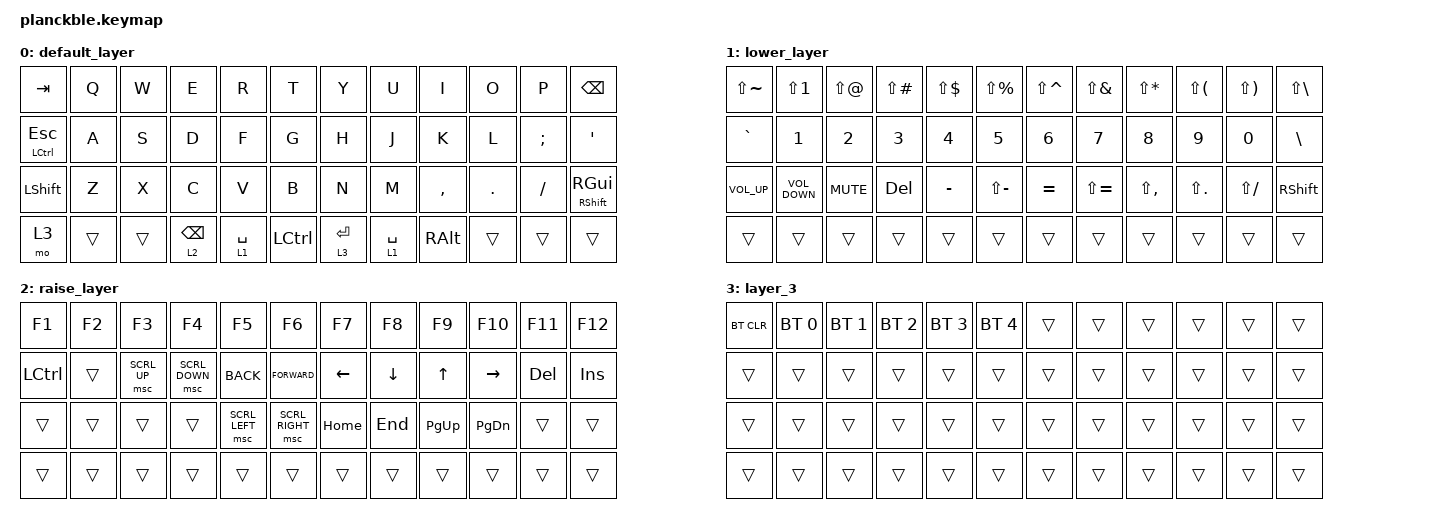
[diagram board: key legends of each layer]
/*
 * Copyright (c) 2021 The ZMK Contributors
 *
 * SPDX-License-Identifier: MIT
 */

#include <behaviors.dtsi>
#include <dt-bindings/zmk/bt.h>
#include <dt-bindings/zmk/keys.h>
#include <dt-bindings/zmk/pointing.h>

&lt {
    flavor = "balanced";
    tapping-term-ms = <100>;
};

/ {
    combos {
        compatible = "zmk,combos";

        combo_+ {
            bindings = <&kp PLUS>;
            key-positions = <17 18>;
            timeout-ms = <50>;
            layers = <0>;
        };

        combo_lshft {
            bindings = <&kp LSHFT>;
            key-positions = <14 15>;
        };

        combo_rshft {
            bindings = <&kp RSHFT>;
            key-positions = <20 21>;
        };

        combo_caps {
            bindings = <&kp CAPSLOCK>;
            key-positions = <13 14 15 16>;
        };

        combo_enter {
            bindings = <&kp ENTER>;
            key-positions = <16 19>;
        };

        combo_left_brace {
            bindings = <&kp LEFT_BRACE>;
            key-positions = <3 4>;
        };

        combo_left_parenthesis {
            bindings = <&kp LEFT_PARENTHESIS>;
            key-positions = <15 16>;
        };

        combo_left_bracket {
            bindings = <&kp LEFT_BRACKET>;
            key-positions = <27 28>;
        };

        combo_right_brace {
            bindings = <&kp RIGHT_BRACE>;
            key-positions = <7 8>;
        };

        combo_right_parenthesis {
            bindings = <&kp RIGHT_PARENTHESIS>;
            key-positions = <19 20>;
        };

        combo_right_bracket {
            bindings = <&kp RIGHT_BRACKET>;
            key-positions = <31 32>;
        };

        combo_plus {
            bindings = <&kp LS(EQUAL)>;
            key-positions = <17 18>;
        };

        combo_minus {
            bindings = <&kp MINUS>;
            key-positions = <29 30>;
        };

        combo_f2 {
            bindings = <&kp F2>;
            key-positions = <2 3>;
        };

        combo_up {
            bindings = <&kp UP_ARROW>;
            key-positions = <19 7>;
        };

        combo_down {
            bindings = <&kp DOWN_ARROW>;
            key-positions = <19 31>;
        };
    };

    behaviors {
        auto_shift: auto_shift {
            compatible = "zmk,behavior-hold-tap";
            label = "AUTO_SHIFT";
            bindings = <&kp>, <&kp>;

            #binding-cells = <2>;
            tapping-term-ms = <175>;
            quick-tap-ms = <0>;
            flavor = "tap-preferred";
        };

        caps: caps {
            compatible = "zmk,behavior-hold-tap";
            label = "CAPS";
            bindings = <&kp>, <&caps_word>;

            #binding-cells = <2>;
            tapping-term-ms = <175>;
            flavor = "tap-preferred";
        };
    };

    keymap {
        compatible = "zmk,keymap";

        default_layer {
            bindings = <
&kp TAB        &kp Q   &kp W   &kp E            &kp R        &kp T      &kp Y        &kp U        &kp I          &kp O    &kp P     &kp BSPC
&mt LCTRL ESC  &kp A   &kp S   &kp D            &kp F        &kp G      &kp H        &kp J        &kp K          &kp L    &kp SEMI  &kp APOS
&kp LSHIFT     &kp Z   &kp X   &kp C            &kp V        &kp B      &kp N        &kp M        &kp COMMA      &kp DOT  &kp FSLH  &mt RSHIFT RIGHT_GUI
&mo 3          &trans  &trans  &lt 2 BACKSPACE  &lt 1 SPACE  &kp LCTRL  &lt 3 ENTER  &lt 1 SPACE  &kp RIGHT_ALT  &trans   &trans    &trans
            >;
        };

        lower_layer {
            bindings = <
&kp LS(TILDE)    &kp LS(NUMBER_1)   &kp LS(AT)  &kp LS(POUND)  &kp LS(DLLR)  &kp LS(PRCNT)  &kp LS(CARET)  &kp LS(AMPS)   &kp LS(STAR)   &kp LS(LPAR)    &kp LS(RPAR)   &kp LS(BSLH)
&kp GRAVE        &kp N1             &kp N2      &kp N3         &kp N4        &kp N5         &kp N6         &kp N7         &kp N8         &kp N9          &kp N0         &kp BACKSLASH
&kp C_VOLUME_UP  &kp C_VOLUME_DOWN  &kp C_MUTE  &kp DEL        &kp MINUS     &kp LS(MINUS)  &kp EQUAL      &kp LS(EQUAL)  &kp LS(COMMA)  &kp LS(PERIOD)  &kp LS(SLASH)  &kp RSHFT
&trans           &trans             &trans      &trans         &trans        &trans         &trans         &trans         &trans         &trans          &trans         &trans
            >;
        };

        raise_layer {
            bindings = <
&kp F1     &kp F2  &kp F3        &kp F4          &kp F5          &kp F6           &kp F7          &kp F8    &kp F9       &kp F10        &kp F11     &kp F12
&kp LCTRL  &trans  &msc SCRL_UP  &msc SCRL_DOWN  &kp K_BACK      &kp K_FORWARD    &kp LEFT_ARROW  &kp DOWN  &kp UP       &kp RIGHT      &kp DELETE  &kp INSERT
&trans     &trans  &trans        &trans          &msc SCRL_LEFT  &msc SCRL_RIGHT  &kp HOME        &kp END   &kp PAGE_UP  &kp PAGE_DOWN  &trans      &trans
&trans     &trans  &trans        &trans          &trans          &trans           &trans          &trans    &trans       &trans         &trans      &trans
            >;
        };

        layer_3 {
            bindings = <
&bt BT_CLR  &bt BT_SEL 0  &bt BT_SEL 1  &bt BT_SEL 2  &bt BT_SEL 3  &bt BT_SEL 4  &trans  &trans  &trans  &trans  &trans  &trans
&trans      &trans        &trans        &trans        &trans        &trans        &trans  &trans  &trans  &trans  &trans  &trans
&trans      &trans        &trans        &trans        &trans        &trans        &trans  &trans  &trans  &trans  &trans  &trans
&trans      &trans        &trans        &trans        &trans        &trans        &trans  &trans  &trans  &trans  &trans  &trans
            >;
        };
    };
};
